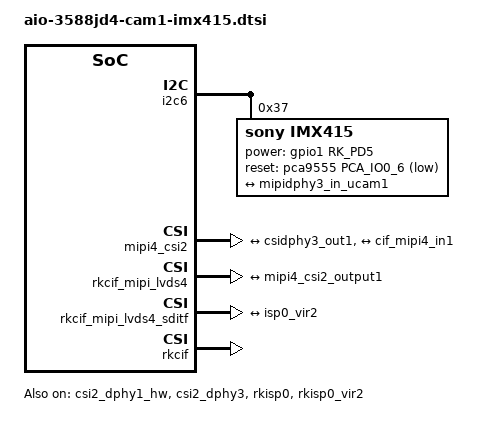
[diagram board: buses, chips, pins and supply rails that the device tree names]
// SPDX-License-Identifier: (GPL-2.0+ OR MIT)
/*
 * Copyright (c) 2021 Rockchip Electronics Co., Ltd.
 *
 */

&spi1 {
        status = "disabled";
};

&i2c6 {
        status = "okay";

        imx415: imx415@37{
               compatible = "sony,imx415";
               reg = <0x37>;
               clocks = <&cru CLK_MIPI_CAMARAOUT_M0>;
               clock-names = "xvclk";
               pinctrl-names = "default";
               pinctrl-0 = <&mipim0_camera0_clk>;
               power-domains = <&power RK3588_PD_VI>;

               power-gpios = <&gpio1 RK_PD5 GPIO_ACTIVE_HIGH>;
               reset-gpios = <&pca9555 PCA_IO0_6 GPIO_ACTIVE_LOW>;

               #define FF_COMPATIBLE
               firefly,clkout-enabled-index = <0>;
               rockchip,camera-module-index = <2>;
               rockchip,camera-module-facing = "back";
               rockchip,camera-module-name = "CMK-OT2022-PX1";
               rockchip,camera-module-lens-name = "IR0147-50IRC-8M-F20";
               port {
                       imx415_out1: endpoint {
                               remote-endpoint = <&mipidphy3_in_ucam1>;
                               data-lanes = <1 2 3 4>;
                       };
               };
       };
};

&csi2_dphy1_hw {
	status = "okay";
};

&csi2_dphy3 {
	status = "okay";
#ifdef FF_COMPATIBLE
	firefly-compatible;
#endif
	ports {
		#address-cells = <1>;
		#size-cells = <0>;
		port@0 {
			reg = <0>;
			#address-cells = <1>;
			#size-cells = <0>;

			mipidphy3_in_ucam1: endpoint@1 {
				reg = <1>;
				remote-endpoint = <&imx415_out1>;
				data-lanes = <1 2 3 4>;
			};
		};
		port@1 {
			reg = <1>;
			#address-cells = <1>;
			#size-cells = <0>;

			csidphy3_out1: endpoint@0 {
				reg = <0>;
				remote-endpoint = <&mipi4_csi2_input1>;
			};
		};
	};
};

&mipi4_csi2 {
	status = "okay";

#ifdef FF_COMPATIBLE
	firefly-compatible;
#endif
	ports {
		#address-cells = <1>;
		#size-cells = <0>;

		port@0 {
			reg = <0>;
			#address-cells = <1>;
			#size-cells = <0>;

			mipi4_csi2_input1: endpoint@0 {
				reg = <0>;
				remote-endpoint = <&csidphy3_out1>;
			};
		};

		port@1 {
			reg = <1>;
			#address-cells = <1>;
			#size-cells = <0>;

			mipi4_csi2_output1: endpoint@0 {
				reg = <0>;
				remote-endpoint = <&cif_mipi4_in1>;
			};
		};
	};
};

&rkcif_mipi_lvds4 {
        status = "okay";

        port {
                cif_mipi4_in1: endpoint {
                        remote-endpoint = <&mipi4_csi2_output1>;
                };
        };
};

&rkcif_mipi_lvds4_sditf {
	status = "okay";

	port {
		mipi4_lvds4_sditf: endpoint {
			remote-endpoint = <&isp0_vir2>;
		};
	};
};


&rkcif {
	status = "okay";
};

&rkcif_mmu {
	status = "okay";
};

&rkisp0 {
	status = "okay";
};

&isp0_mmu {
	status = "okay";
};

&rkisp0_vir2 {
	status = "okay";

	port {
		#address-cells = <1>;
		#size-cells = <0>;

		isp0_vir2: endpoint@1 {
			reg = <1>;
			remote-endpoint = <&mipi4_lvds4_sditf>;
		};
	};
};
